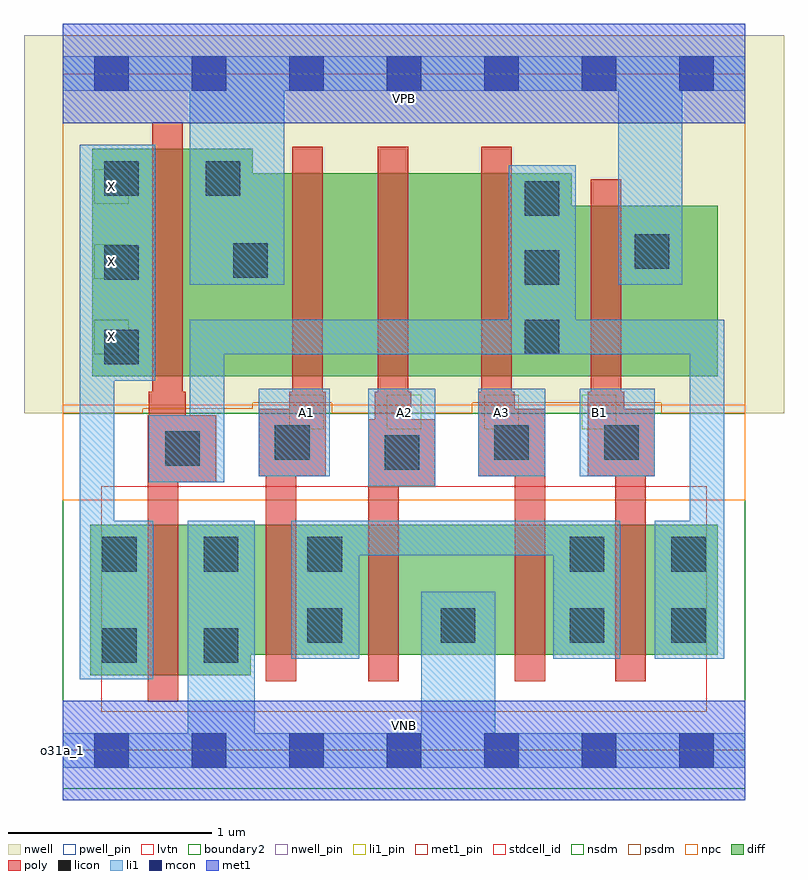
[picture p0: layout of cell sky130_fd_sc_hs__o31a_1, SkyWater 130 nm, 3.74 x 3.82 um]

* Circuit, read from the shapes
.subckt sky130_fd_sc_hs__o31a_1 A1 A2 A3 B1 VGND VNB VPB VPWR X
XM1 VGND n1 X VNB sky130_fd_pr__nfet_01v8_lvt w=0.74 l=0.15
XM2 n2 A1 VGND VNB sky130_fd_pr__nfet_01v8_lvt w=0.64 l=0.15
XM3 VGND A2 n2 VNB sky130_fd_pr__nfet_01v8_lvt w=0.64 l=0.15
XM4 n2 A3 VGND VNB sky130_fd_pr__nfet_01v8_lvt w=0.64 l=0.15
XM5 n1 B1 n2 VNB sky130_fd_pr__nfet_01v8_lvt w=0.64 l=0.15
XM6 VPWR n1 X VPB sky130_fd_pr__pfet_01v8 w=1.12 l=0.15
XM7 n3 A1 VPWR VPB sky130_fd_pr__pfet_01v8 w=1 l=0.15
XM8 n4 A2 n3 VPB sky130_fd_pr__pfet_01v8 w=1 l=0.15
XM9 n1 A3 n4 VPB sky130_fd_pr__pfet_01v8 w=1 l=0.15
XM10 VPWR B1 n1 VPB sky130_fd_pr__pfet_01v8 w=0.84 l=0.15
.ends

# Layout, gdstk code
import gdstk
lib = gdstk.Library(unit=1e-6, precision=1e-09)
def R(c, l, rs):  # rectangles x0, y0, x1, y1
    for r in rs: c.add(gdstk.rectangle(r[:2], r[2:], *l))
def A(c, l, x, y, w, h, nx, ny, dx, dy):  # array of equal rectangles
    R(c, l, [(x+i*dx, y+j*dy, x+i*dx+w, y+j*dy+h) for i in range(nx) for j in range(ny)])
def P(c, l, *ps):  # polygons
    for p in ps: c.add(gdstk.Polygon(p, *l))
nwell_pin = (64, 16)
nwell = (64, 20)
diff = (65, 20)
poly = (66, 20)
licon = (66, 44)
li1_pin = (67, 16)
li1 = (67, 20)
mcon = (67, 44)
met1_pin = (68, 16)
met1 = (68, 20)
stdcell_id = (81, 4)
nsdm = (93, 44)
psdm = (94, 20)
npc = (95, 20)
pwell_pin = (122, 16)
lvtn = (125, 44)
boundary2 = (236, 0)

sky130_fd_sc_hs__o31a_1 = lib.new_cell('sky130_fd_sc_hs__o31a_1')
R(sky130_fd_sc_hs__o31a_1, nwell_pin, [(0,3.085,3.36,3.33)])
R(sky130_fd_sc_hs__o31a_1, nwell, [(-0.19,1.66,3.55,3.52)])
P(sky130_fd_sc_hs__o31a_1, diff, [(3.225,2.68),(2.505,2.68),(2.505,2.84),(0.935,2.84),(0.935,2.96),(0.145,2.96),(0.145,1.84),(3.225,1.84)],
  [(3.225,1.11),(0.135,1.11),(0.135,0.37),(0.925,0.37),(0.925,0.47),(3.225,0.47)])
P(sky130_fd_sc_hs__o31a_1, poly, [(0.755,1.65),(0.605,1.65),(0.605,1.765),(0.59,1.765),(0.59,3.09),(0.44,3.09),(0.44,1.765),(0.425,1.765),(0.425,1.65),(0.42,1.65),(0.42,0.24),(0.57,0.24),(0.57,1.32),(0.755,1.32)],
  [(1.295,1.765),(1.28,1.765),(1.28,2.97),(1.13,2.97),(1.13,1.765),(1.115,1.765),(1.115,1.68),(0.965,1.68),(0.965,1.35),(1,1.35),(1,0.34),(1.15,0.34),(1.15,1.35),(1.295,1.35)],
  [(1.835,1.63),(1.715,1.63),(1.715,1.765),(1.7,1.765),(1.7,2.97),(1.55,2.97),(1.55,1.765),(1.535,1.765),(1.535,1.63),(1.505,1.63),(1.505,0.34),(1.655,0.34),(1.655,1.3),(1.835,1.3)],
  [(2.375,1.68),(2.225,1.68),(2.225,1.765),(2.21,1.765),(2.21,2.97),(2.06,2.97),(2.06,1.765),(2.045,1.765),(2.045,1.35),(2.225,1.35),(2.225,0.34),(2.375,0.34)],
  [(2.915,1.68),(2.765,1.68),(2.765,1.765),(2.75,1.765),(2.75,2.81),(2.6,2.81),(2.6,1.765),(2.585,1.765),(2.585,1.35),(2.72,1.35),(2.72,0.34),(2.87,0.34),(2.87,1.35),(2.915,1.35)])
A(sky130_fd_sc_hs__o31a_1, licon, 0.205, 1.9, 0.17, 0.17, 1, 3, 0, 0.415)
A(sky130_fd_sc_hs__o31a_1, licon, 2.275, 1.95, 0.17, 0.17, 1, 3, 0, 0.34)
R(sky130_fd_sc_hs__o31a_1, licon, [(0.195,0.43,0.365,0.6), (0.695,0.43,0.865,0.6), (1.205,0.53,1.375,0.7), (1.86,0.53,2.03,0.7), (2.495,0.53,2.665,0.7), (2.995,0.53,3.165,0.7), (0.195,0.88,0.365,1.05), (0.695,0.88,0.865,1.05), (1.205,0.88,1.375,1.05), (2.495,0.88,2.665,1.05), (2.995,0.88,3.165,1.05), (1.585,1.38,1.755,1.55), (0.505,1.4,0.675,1.57), (1.045,1.43,1.215,1.6), (2.125,1.43,2.295,1.6), (2.665,1.43,2.835,1.6), (0.84,2.325,1.01,2.495), (2.815,2.37,2.985,2.54), (0.705,2.73,0.875,2.9)])
A(sky130_fd_sc_hs__o31a_1, li1_pin, 1.115, 1.58, 0.17, 0.17, 4, 1, 0.48, 0)
A(sky130_fd_sc_hs__o31a_1, li1_pin, 0.155, 1.95, 0.17, 0.17, 1, 3, 0, 0.37)
R(sky130_fd_sc_hs__o31a_1, li1, [(1.505,1.3,1.835,1.78), (0.965,1.35,1.315,1.78), (2.045,1.35,2.375,1.78), (2.545,1.35,2.915,1.78)])
P(sky130_fd_sc_hs__o31a_1, li1, [(0,-0.085),(0,0.085),(0.615,0.085),(0.615,1.13),(0.945,1.13),(0.945,0.085),(1.765,0.085),(1.765,0.78),(2.13,0.78),(2.13,0.085),(3.36,0.085),(3.36,-0.085)],
  [(0,3.245),(0,3.415),(3.36,3.415),(3.36,3.245),(3.05,3.245),(3.05,2.29),(2.735,2.29),(2.735,3.245),(1.09,3.245),(1.09,2.29),(0.625,2.29),(0.625,3.245)],
  [(0.085,2.98),(0.455,2.98),(0.455,1.82),(0.255,1.82),(0.255,1.13),(0.445,1.13),(0.445,0.35),(0.085,0.35)],
  [(2.915,0.45),(2.915,1.13),(3.085,1.13),(3.085,1.95),(0.795,1.95),(0.795,1.32),(0.425,1.32),(0.425,1.65),(0.625,1.65),(0.625,2.12),(2.195,2.12),(2.195,2.88),(2.525,2.88),(2.525,2.12),(3.255,2.12),(3.255,0.45)],
  [(2.745,1.13),(2.745,0.45),(2.415,0.45),(2.415,0.96),(1.46,0.96),(1.46,0.45),(1.125,0.45),(1.125,1.13)])
A(sky130_fd_sc_hs__o31a_1, mcon, 0.155, -0.085, 0.17, 0.17, 7, 2, 0.48, 3.33)
R(sky130_fd_sc_hs__o31a_1, met1_pin, [(0,0,3.36,0.245), (0,3.085,3.36,3.33)])
R(sky130_fd_sc_hs__o31a_1, met1, [(0,-0.245,3.36,0.245), (0,3.085,3.36,3.575)])
R(sky130_fd_sc_hs__o31a_1, stdcell_id, [(0,0,3.36,3.33)])
R(sky130_fd_sc_hs__o31a_1, nsdm, [(0,-0.19,3.36,1.66)])
P(sky130_fd_sc_hs__o31a_1, psdm, [(3.36,3.52),(0,3.52),(0,1.66),(0.395,1.66),(0.395,1.68),(0.935,1.68),(0.935,1.71),(1.325,1.71),(1.325,1.66),(2.015,1.66),(2.015,1.71),(2.945,1.71),(2.945,1.66),(3.36,1.66)])
R(sky130_fd_sc_hs__o31a_1, npc, [(0,1.23,3.36,1.7)])
R(sky130_fd_sc_hs__o31a_1, pwell_pin, [(0,0,3.36,0.245)])
R(sky130_fd_sc_hs__o31a_1, lvtn, [(0.19,0.19,3.17,1.3)])
R(sky130_fd_sc_hs__o31a_1, boundary2, [(0,0,3.36,3.33)])
sky130_fd_sc_hs__o31a_1.add(gdstk.Label('o31a_1', (0,0), layer=83, texttype=44))
sky130_fd_sc_hs__o31a_1.add(gdstk.Label('VNB', (1.68,0.123), layer=64, texttype=59))
sky130_fd_sc_hs__o31a_1.add(gdstk.Label('VPB', (1.68,3.208), layer=64, texttype=5))
sky130_fd_sc_hs__o31a_1.add(gdstk.Label('VPWR', (1.68,3.208), layer=68, texttype=5))
sky130_fd_sc_hs__o31a_1.add(gdstk.Label('VGND', (1.68,0.123), layer=68, texttype=5))
sky130_fd_sc_hs__o31a_1.add(gdstk.Label('B1', (2.64,1.665), layer=67, texttype=5))
sky130_fd_sc_hs__o31a_1.add(gdstk.Label('A2', (1.68,1.665), layer=67, texttype=5))
sky130_fd_sc_hs__o31a_1.add(gdstk.Label('A1', (1.2,1.665), layer=67, texttype=5))
sky130_fd_sc_hs__o31a_1.add(gdstk.Label('A3', (2.16,1.665), layer=67, texttype=5))
sky130_fd_sc_hs__o31a_1.add(gdstk.Label('X', (0.24,2.035), layer=67, texttype=5))
sky130_fd_sc_hs__o31a_1.add(gdstk.Label('X', (0.24,2.405), layer=67, texttype=5))
sky130_fd_sc_hs__o31a_1.add(gdstk.Label('X', (0.24,2.775), layer=67, texttype=5))

lib.write_gds('sky130_fd_sc_hs__o31a_1.gds')
